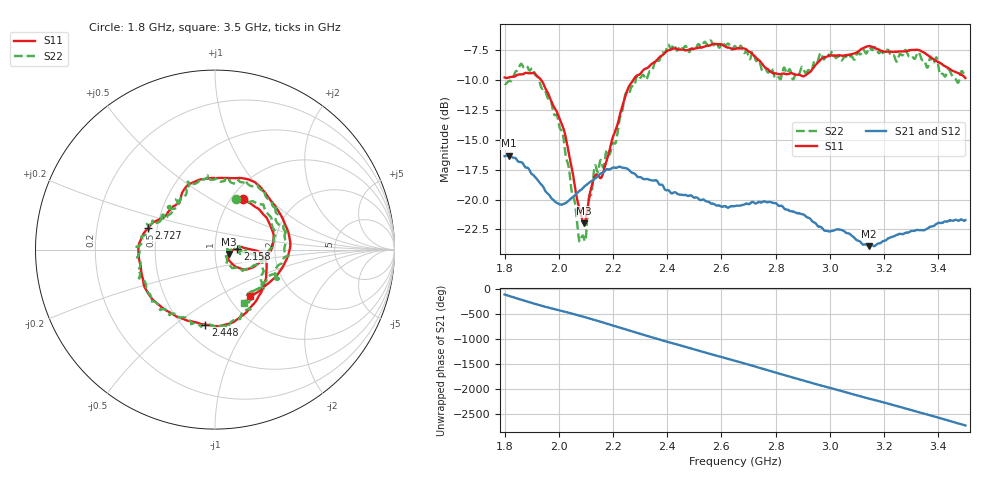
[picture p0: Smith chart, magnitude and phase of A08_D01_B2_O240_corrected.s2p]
! Created with skrf 1.9.0 (http://scikit-rf.org).
# Hz S RI R 50.0
!freq ReS11 ImS11 ReS21 ImS21 ReS12 ImS12 ReS22 ImS22
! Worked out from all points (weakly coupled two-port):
!   1601 points, 1.8 GHz to 3.5 GHz, reference 50 ohm
!   highest |S21| = -16.34 dB at 1.816 GHz (marker M1); lowest = -23.9 dB at 3.145 GHz (marker M2)
!   lowest |S11| = -22.0 dB at 2.093 GHz (marker M3), VSWR 1.17, Z = 58.1 - j2.92 ohm
!   |S11| at or under -10 dB: 1.934 GHz to 2.276 GHz (341.4 MHz wide, 16.2 % of centre)
!   |S22| runs from -23.5 to -6.7 dB; largest |S21 - S12| = 0.003
!   S11 on the Smith chart (normalised r, x): 1.8 GHz: 1.12, +0.71; 2.158 GHz: 1.28, +0.01; 2.448 GHz: 0.64, -0.65; 2.727 GHz: 0.45, +0.13; 3.5 GHz: 1.25, -0.72
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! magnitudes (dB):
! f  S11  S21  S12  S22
! 1.8 GHz  -9.8  -16.4  -16.4  -10.3
! 1.816 GHz  -9.8  -16.3  -16.4  -10.1
! 1.901 GHz  -9.5  -17.9  -17.8  -9.0
! 1.968 GHz  -11.6  -19.7  -19.8  -11.7
! 2.014 GHz  -13.9  -20.4  -20.4  -14.4
! 2.084 GHz  -21.4  -19.2  -19.1  -23.1
! 2.093 GHz  -22.0  -18.9  -19.0  -23.3
! 2.131 GHz  -18.1  -18.3  -18.3  -17.3
! 2.158 GHz  -18.1  -17.8  -17.8  -16.9
! 2.209 GHz  -14.2  -17.4  -17.3  -15.3
! 2.258 GHz  -10.6  -17.5  -17.5  -11.2
! 2.367 GHz  -8.2  -18.6  -18.6  -8.4
! 2.448 GHz  -7.5  -19.6  -19.6  -7.2
! 2.65 GHz  -7.4  -20.5  -20.5  -7.2
! 2.727 GHz  -8.2  -20.3  -20.3  -8.4
! 2.812 GHz  -9.5  -20.5  -20.4  -9.8
! 2.934 GHz  -9.2  -21.8  -21.8  -9.2
! 3.145 GHz  -7.2  -23.9  -23.8  -7.3
! 3.217 GHz  -7.7  -23.2  -23.2  -7.6
! 3.33 GHz  -7.6  -22.6  -22.6  -7.8
! 3.468 GHz  -9.4  -21.7  -21.7  -10.1
! 3.5 GHz  -9.9  -21.7  -21.7  -9.4
